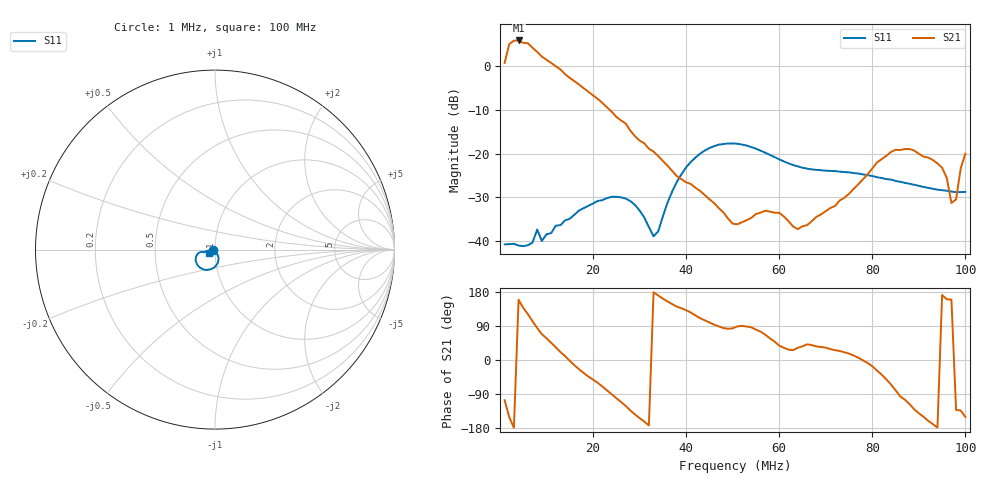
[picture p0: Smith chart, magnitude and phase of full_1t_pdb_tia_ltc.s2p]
# HZ S RI R 50
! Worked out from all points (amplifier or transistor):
!   100 points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, 1 MHz to 100 MHz, reference 50 ohm
!   highest |S21| = 5.9 dB at 4 MHz (marker M1)
!   |S21| within 3 dB of that: 1.498 MHz to 8.354 MHz (6.857 MHz wide, 139 % of centre)
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1000001  -0.00909 -0.000298  -0.3038 -1.053  0 0  0 0
2000001  -0.00915 -0.000191  -1.574 -0.8745  0 0  0 0
3000001  -0.00905 -0.00196  -1.97 -0.0317  0 0  0 0
4000001  -0.0085 -0.00238  -1.848 0.7163  0 0  0 0
6000001  -0.00783 -0.00422  -0.9531 1.574  0 0  0 0
7000001  -0.00785 -0.00546  -0.3404 1.598  0 0  0 0
8000001  -0.011 -0.0078  0.1369 1.46  0 0  0 0
9000001  -0.00811 -0.00579  0.4794 1.204  0 0  0 0
1.3e7  -0.00938 -0.0119  0.8616 0.3275  0 0  0 0
1.8e7  -0.0133 -0.0196  0.4637 -0.3175  0 0  0 0
2.6e7  -0.026 -0.0177  -0.0845 -0.2248  0 0  0 0
3.4e7  0.000184 -0.0128  -0.0923 0.016  0 0  0 0
4.1e7  0.0127 -0.0791  -0.0258 0.0366  0 0  0 0
5.1e7  -0.0999 -0.0825  0.00036 0.0155  0 0  0 0
5.7e7  -0.0988 -0.0269  0.00874 0.0203  0 0  0 0
6.7e7  -0.0642 -0.0144  0.013 0.0107  0 0  0 0
8.4e7  -0.0494 -0.00981  0.0451 -0.0942  0 0  0 0
9.4e7  -0.0364 -0.013  -0.0771 -0.0023  0 0  0 0
9.6e7  -0.0346 -0.0146  -0.0494 0.0178  0 0  0 0
9.7e7  -0.0332 -0.0156  -0.0254 0.00954  0 0  0 0
9.8e7  -0.0323 -0.0163  -0.0198 -0.0223  0 0  0 0
1e8  -0.0312 -0.0187  -0.0867 -0.0494  0 0  0 0
